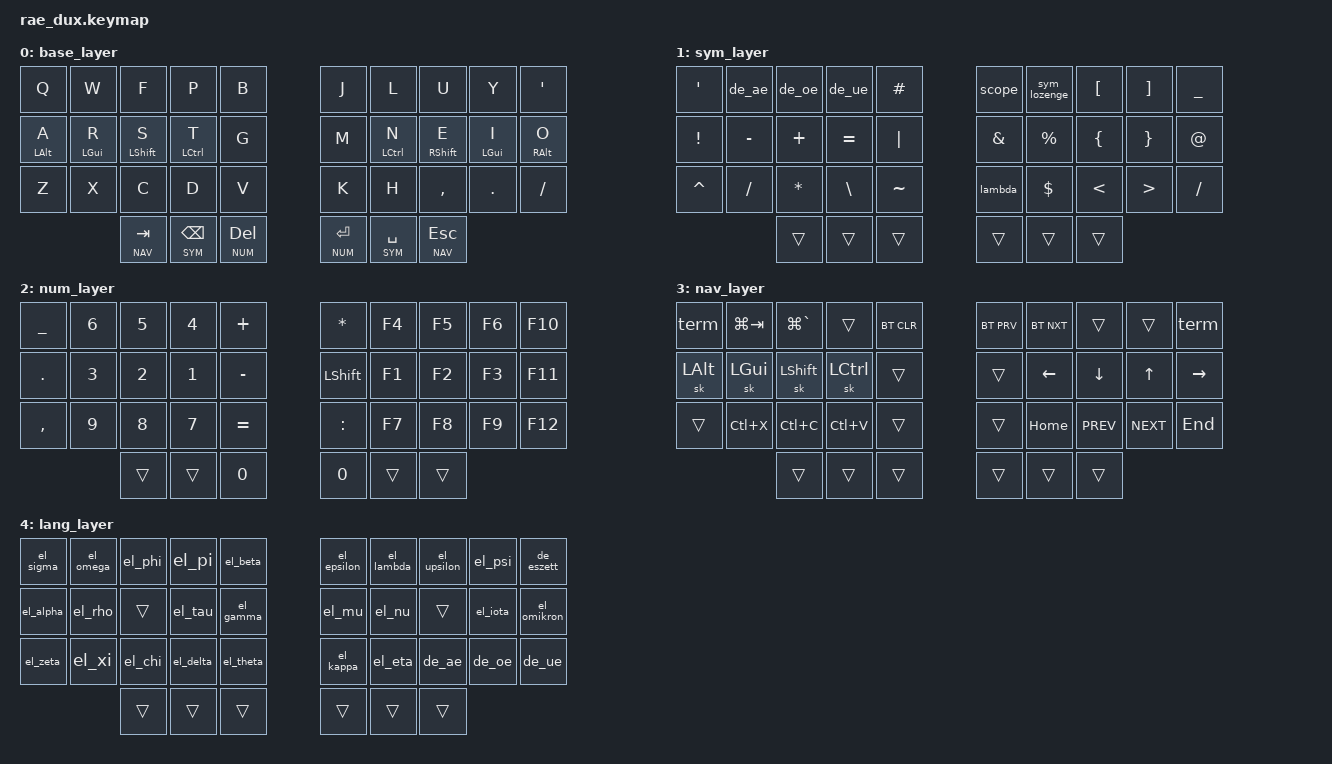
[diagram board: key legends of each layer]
/*
 * Copyright (c) 2021 The ZMK Contributors
 *
 * SPDX-License-Identifier: MIT
 */

#include <behaviors.dtsi>
#include <dt-bindings/zmk/bt.h>
#include <dt-bindings/zmk/keys.h>

#define HOST_OS 1
#include "../zmk-nodefree-config/helper.h"
#include "../zmk-nodefree-config/international_chars/greek.dtsi"
#include "../zmk-nodefree-config/keypos_def/keypos_36keys.h"
#include "../zmk-nodefree-config/international_chars/german.dtsi"

&sk {
    release-after-ms = <750>;
    quick-release;
};

&caps_word {
    continue-list = <UNDERSCORE MINUS BSPC>;
};

#define ___ &trans

#define BASE  0
#define SYM   1
#define NUM   2
#define NAV   3
#define LANG  4

#define KEYS_L LT0 LT1 LT2 LT3 LT4 LM0 LM1 LM2 LM3 LM4 LB0 LB1 LB2 LB3 LB4  // left hand
#define KEYS_R RT0 RT1 RT2 RT3 RT4 RM0 RM1 RM2 RM3 RM4 RB0 RB1 RB2 RB3 RB4  // right hand
#define THUMBS LH2 LH1 LH0 RH0 RH1 RH2                                      // thumbs

#define CT   LC(X)
#define CPY  LC(C)
#define PASTE LC(V)

ZMK_UNICODE_SINGLE( sym_lozenge,  N2, N5,  C,  A)

/ {
    macros {
        ZMK_MACRO(scope, wait-ms = <1>; tap-ms = <1>; bindings = <&kp COLON &kp COLON>;)
        ZMK_MACRO(lambda, wait-ms = <1>; tap-ms = <1>; bindings = <&kp L &kp A &kp M &kp B &kp D &kp A>;)
        ZMK_MACRO(term, wait-ms = <30>; tap-ms = <30>; bindings = <&kp LGUI &kp T &kp E &kp R &kp M &kp RET>;)
    };
};

/*                                     KEY POSITIONS

  ╭────────────────────┬────────────────────╮ ╭─────────────────────┬─────────────────────╮
  │  0   1   2   3   4 │  5   6   7   8   9 │ │ LT4 LT3 LT2 LT1 LT0 │ RT0 RT1 RT2 RT3 RT4 │
  │ 10  11  12  13  14 │ 15  16  17  18  19 │ │ LM4 LM3 LM2 LM1 LM0 │ RM0 RM1 RM2 RM3 RM4 │
  │ 20  21  22  23  24 │ 25  26  27  28  29 │ │ LB4 LB3 LB2 LB1 LB0 │ RB0 RB1 RB2 RB3 RB4 │
  ╰───────╮ 30  31  32 │ 33  34  35 ╭───────╯ ╰───────╮ LH2 LH1 LH0 │ RH0 RH1 RH2 ╭───────╯
          ╰────────────┴────────────╯                 ╰─────────────┴─────────────╯             */

#undef COMBO_TERM
#define COMBO_TERM 20

ZMK_COMBO(caps_word_left, &caps_word, 13 14, ALL)
ZMK_COMBO(caps_word_right, &caps_word, 15 16, ALL)

ZMK_COMBO(excl, &kp EXCL, 1 11, ALL)
ZMK_COMBO(grave, &kp GRAVE, 2 12, ALL)
ZMK_COMBO(scope, &scope, 3 13, ALL)
ZMK_COMBO(caret, &kp CARET, 4 14, ALL)
ZMK_COMBO(lpar, &kp LPAR, 11 12, ALL)
ZMK_COMBO(lbrc, &kp LBRC, 11 13, ALL)
ZMK_COMBO(lbkt, &kp LBKT, 12 13, ALL)
// free spot: ZMK_COMBO(.., &kp .., 11 21, ALL)
ZMK_COMBO(bslash, &kp BSLH, 12 22, ALL)
ZMK_COMBO(pipe, &kp PIPE, 13 23, ALL)
ZMK_COMBO(tilde, &kp TILDE, 14 24, ALL)
ZMK_COMBO(equal, &kp EQUAL, 21 22, ALL)
ZMK_COMBO(underscore, &kp UNDER, 22 23, ALL)

ZMK_COMBO(percent, &kp PRCNT, 5 15, ALL)
ZMK_COMBO(hash, &kp HASH, 6 16, ALL)
ZMK_COMBO(semicolon, &kp SEMI, 7 17, ALL)
ZMK_COMBO(at, &kp AT, 8 18, ALL)
ZMK_COMBO(rbkt, &kp RBKT, 16 17, ALL)
ZMK_COMBO(rbrc, &kp RBRC, 16 18, ALL)
ZMK_COMBO(rpar, &kp RPAR, 17 18, ALL)
ZMK_COMBO(dollar, &kp DLLR, 15 25, ALL)
ZMK_COMBO(ampersand, &kp AMPS, 16 26, ALL)
ZMK_COMBO(plus, &kp PLUS, 17 27, ALL)
ZMK_COMBO(star, &kp STAR, 18 28, ALL)
ZMK_COMBO(minus, &kp MINUS, 26 27, ALL)
ZMK_COMBO(colon, &kp COLON, 27 28, ALL)

ZMK_COMBO(switch_lang, &sl LANG, 21 23, ALL)


#define MAKE_HRM(NAME, HOLD, TAP, TRIGGER_POS) \
    ZMK_BEHAVIOR(NAME, hold_tap, \
        flavor = "balanced"; \
        tapping-term-ms = <230>; \
        quick-tap-ms = <150>; \
        global-quick-tap-ms = <100>; \
        bindings = <HOLD>, <TAP>; \
        hold-trigger-key-positions = <TRIGGER_POS>; \
    )
MAKE_HRM(lhm, &kp, &kp, KEYS_R THUMBS)  // left-hand HRMs
MAKE_HRM(rhm, &kp, &kp, KEYS_L THUMBS)  // right-hand HRMs


// ZMK_BEHAVIOR(lt, hold_tap,
//     flavor = "balanced";
//     tapping-term-ms = <200>;
//     quick-tap-ms = <200>;
//     global-quick-tap-ms = <100>;
//     bindings = <&mo>, <&kp>;
// )

ZMK_LAYER(base_layer,
// ╭─────────────┬─────────────┬─────────────┬─────────────┬─────────────╮╭─────────────┬─────────────┬─────────────┬─────────────┬─────────────╮
     &kp Q         &kp W         &kp F         &kp P         &kp B          &kp J         &kp L         &kp U         &kp Y         &kp APOS
// ├─────────────┼─────────────┼─────────────┼─────────────┼─────────────┤├─────────────┼─────────────┼─────────────┼─────────────┼─────────────┤
     &lhm LALT A   &lhm LGUI R   &lhm LSHFT S  &lhm LCTRL T  &kp G          &kp M         &rhm LCTRL N  &rhm RSHFT E  &rhm LGUI I   &rhm RALT O
// ├─────────────┼─────────────┼─────────────┼─────────────┼─────────────┤├─────────────┼─────────────┼─────────────┼─────────────┼─────────────┤
     &kp Z         &kp X         &kp C         &kp D         &kp V          &kp K         &kp H         &kp COMMA     &kp DOT       &kp FSLH
// ╰─────────────┼─────────────┼─────────────┼─────────────┼─────────────┤├─────────────┼─────────────┼─────────────┼─────────────┼─────────────┤
                                 &lt NAV TAB   &lt SYM BSPC  &lt NUM DEL    &lt NUM RET   &lt SYM SPC   &lt NAV ESC
//                             ╰─────────────┴─────────────┴─────────────╯╰─────────────┴─────────────┴─────────────╯
)

ZMK_LAYER(sym_layer,
// ╭─────────────┬─────────────┬─────────────┬─────────────┬─────────────╮╭─────────────┬─────────────┬─────────────┬─────────────┬─────────────╮
     &kp APOS      &de_ae        &de_oe        &de_ue        &kp HASH       &scope        &sym_lozenge  &kp LBKT      &kp RBKT      &kp UNDER
// ├─────────────┼─────────────┼─────────────┼─────────────┼─────────────┤├─────────────┼─────────────┼─────────────┼─────────────┼─────────────┤
     &kp EXCL      &kp MINUS     &kp PLUS      &kp EQUAL     &kp PIPE       &kp AMPS      &kp PRCNT     &kp LBRC      &kp RBRC      &kp AT
// ├─────────────┼─────────────┼─────────────┼─────────────┼─────────────┤├─────────────┼─────────────┼─────────────┼─────────────┼─────────────┤
     &kp CARET     &kp FSLH      &kp STAR      &kp BSLH      &kp TILDE      &lambda       &kp DLLR      &kp LT        &kp GT        &kp FSLH
// ╰─────────────┼─────────────┼─────────────┼─────────────┼─────────────┤├─────────────┼─────────────┼─────────────┼─────────────┼─────────────┤
                                 ___           ___           ___            ___           ___           ___
//                             ╰─────────────┴─────────────┴─────────────╯╰─────────────┴─────────────┴─────────────╯
)

ZMK_LAYER(num_layer,
// ╭─────────────┬─────────────┬─────────────┬─────────────┬─────────────╮╭─────────────┬─────────────┬─────────────┬─────────────┬─────────────╮
    &kp UNDER      &kp N6        &kp N5        &kp N4        &kp PLUS       &kp STAR      &kp F4        &kp F5         &kp F6        &kp F10
// ├─────────────┼─────────────┼─────────────┼─────────────┼─────────────┤├─────────────┼─────────────┼─────────────┼─────────────┼─────────────┤
    &kp DOT        &kp N3        &kp N2        &kp N1        &kp MINUS      &kp LSHFT     &kp F1        &kp F2         &kp F3        &kp F11
// ├─────────────┼─────────────┼─────────────┼─────────────┼─────────────┤├─────────────┼─────────────┼─────────────┼─────────────┼─────────────┤
    &kp COMMA      &kp N9        &kp N8        &kp N7        &kp EQUAL      &kp COLON     &kp F7        &kp F8         &kp F9        &kp F12
// ╰─────────────┼─────────────┼─────────────┼─────────────┼─────────────┤├─────────────┼─────────────┼─────────────┼─────────────┼─────────────┤
                                 ___           ___           &kp N0         &kp N0        ___           ___
//                             ╰─────────────┴─────────────┴─────────────╯╰─────────────┴─────────────┴─────────────╯
)

ZMK_LAYER(nav_layer,
// ╭─────────────┬─────────────┬─────────────┬─────────────┬─────────────╮╭─────────────┬─────────────┬─────────────┬─────────────┬─────────────╮
    &term          &kp LG(TAB)   &kp LG(GRAVE)   ___         &bt BT_CLR     &bt BT_PRV    &bt BT_NXT    ___           ___           &term
// ├─────────────┼─────────────┼─────────────┼─────────────┼─────────────┤├─────────────┼─────────────┼─────────────┼─────────────┼─────────────┤
    &sk LALT       &sk LGUI      &sk LSHFT     &sk LCTRL     ___            ___           &kp LEFT      &kp DOWN      &kp UP        &kp RIGHT
// ├─────────────┼─────────────┼─────────────┼─────────────┼─────────────┤├─────────────┼─────────────┼─────────────┼─────────────┼─────────────┤
    ___            &kp CT        &kp CPY       &kp PASTE     ___            ___           &kp HOME      &kp K_PREV    &kp K_NEXT    &kp END
// ╰─────────────┼─────────────┼─────────────┼─────────────┼─────────────┤├─────────────┼─────────────┼─────────────┼─────────────┼─────────────┤
                                 ___           ___           ___            ___           ___           ___
//                             ╰─────────────┴─────────────┴─────────────╯╰─────────────┴─────────────┴─────────────╯
)

ZMK_LAYER(lang_layer,
// ╭─────────────┬─────────────┬─────────────┬─────────────┬─────────────╮╭─────────────┬─────────────┬─────────────┬─────────────┬─────────────╮
     &el_sigma     &el_omega     &el_phi       &el_pi        &el_beta       &el_epsilon   &el_lambda    &el_upsilon   &el_psi       &de_eszett   
// ├─────────────┼─────────────┼─────────────┼─────────────┼─────────────┤├─────────────┼─────────────┼─────────────┼─────────────┼─────────────┤
     &el_alpha     &el_rho       ___           &el_tau       &el_gamma      &el_mu        &el_nu        ___           &el_iota      &el_omikron  
// ├─────────────┼─────────────┼─────────────┼─────────────┼─────────────┤├─────────────┼─────────────┼─────────────┼─────────────┼─────────────┤
     &el_zeta      &el_xi        &el_chi       &el_delta     &el_theta      &el_kappa     &el_eta       &de_ae        &de_oe        &de_ue       
// ╰─────────────┼─────────────┼─────────────┼─────────────┼─────────────┤├─────────────┼─────────────┼─────────────┼─────────────┼─────────────┤
                                 ___           ___           ___            ___           ___           ___
//                             ╰─────────────┴─────────────┴─────────────╯╰─────────────┴─────────────┴─────────────╯
)
